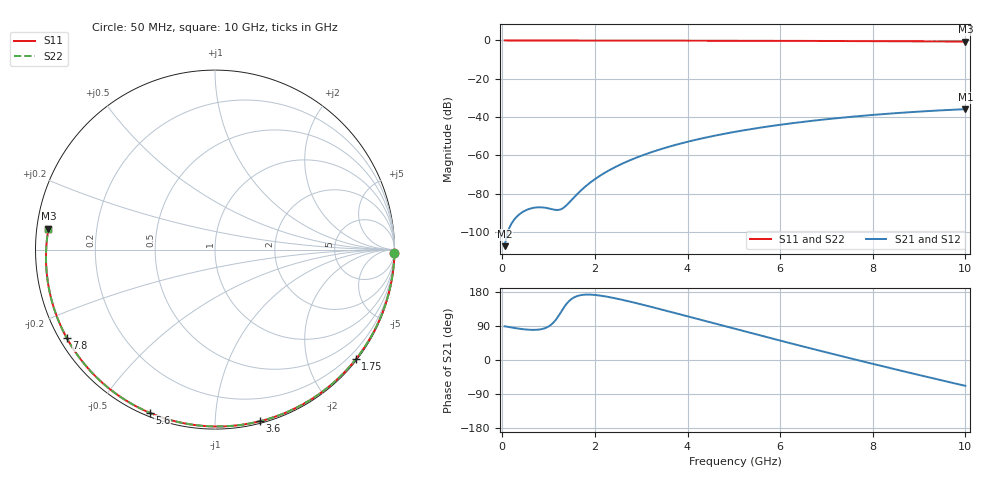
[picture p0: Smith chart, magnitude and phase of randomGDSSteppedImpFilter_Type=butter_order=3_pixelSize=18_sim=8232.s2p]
! freq	dB(S11)	phase(S11)	dB(S12)	phase(S12)
!  dB(S21)	phase(S21)	dB(S22)	phase(S22)
!S-par simulation data
#  GHz  S  DB  R 50
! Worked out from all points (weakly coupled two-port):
!   200 points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, 50 MHz to 10 GHz, reference 50 ohm
!   highest |S21| = -35.88 dB at 10 GHz (marker M1); lowest = -107.4 dB at 50 MHz (marker M2)
!   lowest |S11| = -0.6 dB at 10 GHz (marker M3), VSWR 29.90, Z = 1.68 + j3.12 ohm
!   |S11| at or under -10 dB: nowhere
!   |S22| runs from -0.6 to 0.0 dB; largest |S21 - S12| = 0
!   S11 on the Smith chart (normalised r, x): 50 MHz: open; 1.75 GHz: 0.03, -2.91; 3.6 GHz: 0.02, -1.30; 5.6 GHz: 0.02, -0.68; 7.8 GHz: 0.02, -0.28; 10 GHz: 0.03, +0.06
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0.05  -0.00 -1.1  -107.43 88.9  -107.43 88.9  -0.00 -1.1
0.4  -0.01 -8.8  -90.22 82.0  -90.22 82.0  -0.01 -8.8
0.8  -0.02 -17.6  -87.12 80.4  -87.12 80.4  -0.02 -17.6
1.6  -0.04 -34.8  -80.67 167.9  -80.67 167.9  -0.04 -34.8
1.65  -0.05 -35.8  -79.46 169.9  -79.46 169.9  -0.05 -35.8
1.75  -0.05 -37.9  -77.20 172.1  -77.20 172.1  -0.05 -37.9
2.05  -0.06 -44.2  -71.60 171.0  -71.60 171.0  -0.06 -44.2
2.25  -0.06 -48.4  -68.59 167.3  -68.59 167.3  -0.06 -48.4
2.45  -0.07 -52.5  -65.98 162.5  -65.98 162.5  -0.07 -52.5
2.9  -0.08 -61.6  -61.16 149.9  -61.16 149.9  -0.08 -61.6
3.4  -0.09 -71.4  -56.94 134.4  -56.94 134.4  -0.09 -71.4
3.6  -0.10 -75.3  -55.50 128.1  -55.50 128.1  -0.10 -75.3
4.3  -0.12 -88.5  -51.21 105.5  -51.21 105.5  -0.12 -88.5
5.05  -0.16 -102.2  -47.61 81.4  -47.61 81.4  -0.16 -102.2
5.6  -0.18 -111.9  -45.43 63.8  -45.43 63.8  -0.18 -111.9
6.15  -0.21 -121.4  -43.56 46.5  -43.56 46.5  -0.21 -121.4
6.7  -0.25 -130.7  -41.94 29.3  -41.94 29.3  -0.25 -130.7
7.25  -0.29 -140.0  -40.53 12.5  -40.53 12.5  -0.29 -140.0
7.8  -0.34 -149.2  -39.30 -4.2  -39.30 -4.2  -0.34 -149.2
8.35  -0.39 -158.4  -38.23 -20.6  -38.23 -20.6  -0.39 -158.5
9.2  -0.48 -173.0  -36.86 -45.4  -36.86 -45.4  -0.48 -173.0
10  -0.58 172.9  -35.88 -68.2  -35.88 -68.2  -0.58 172.8
